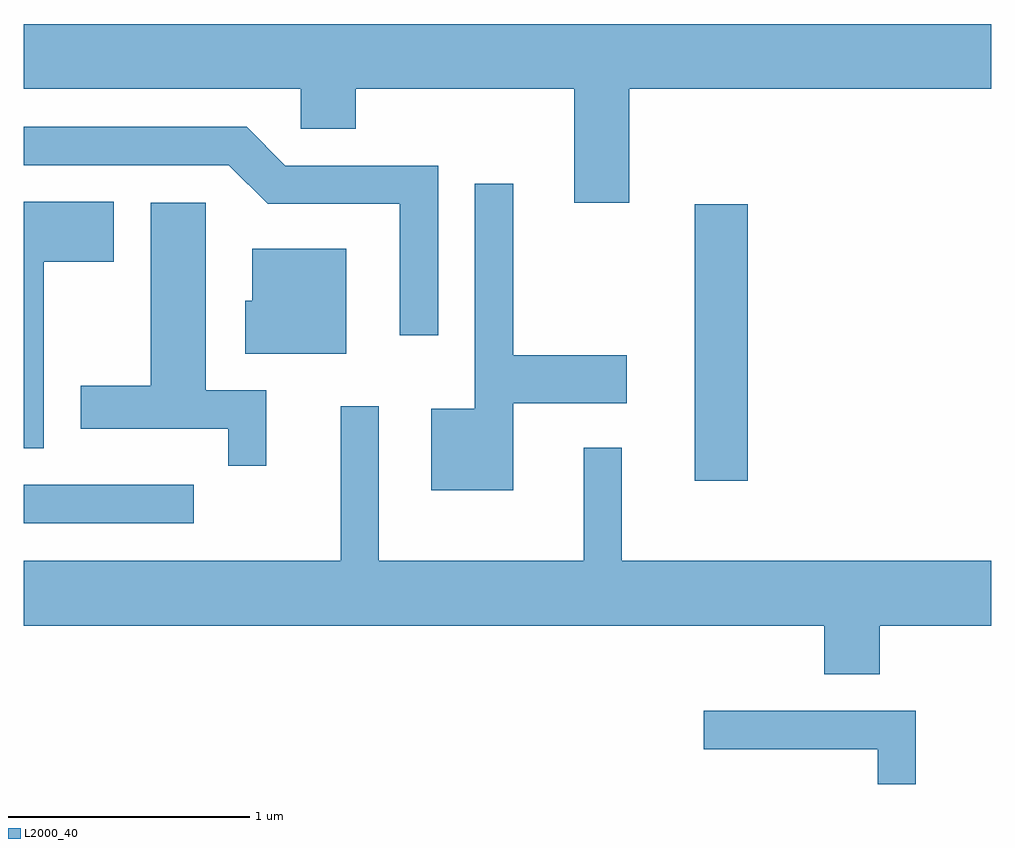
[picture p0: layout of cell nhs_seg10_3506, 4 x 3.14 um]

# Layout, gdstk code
import gdstk
lib = gdstk.Library(unit=1e-6, precision=1e-09)
def R(c, l, rs):  # rectangles x0, y0, x1, y1
    for r in rs: c.add(gdstk.rectangle(r[:2], r[2:], *l))
def P(c, l, *ps):  # polygons
    for p in ps: c.add(gdstk.Polygon(p, *l))
L2000_40 = (2000, 40)

nhs_seg10_3506 = lib.new_cell('nhs_seg10_3506')
R(nhs_seg10_3506, L2000_40, [(287.611,2187.601,288.313,2187.759), (290.386,2187.776,290.604,2188.919)])
P(nhs_seg10_3506, L2000_40, [(290.114,2189.396),(291.611,2189.396),(291.611,2189.664),(287.611,2189.664),(287.611,2189.396),(288.756,2189.396),(288.756,2189.231),(288.984,2189.231),(288.984,2189.396),(289.886,2189.396),(289.886,2188.926),(290.114,2188.926)],
  [(289.324,2189.079),(288.692,2189.079),(288.532,2189.239),(287.611,2189.239),(287.611,2189.081),(288.459,2189.081),(288.619,2188.921),(289.166,2188.921),(289.166,2188.378),(289.324,2188.378)],
  [(289.634,2188.096),(290.104,2188.096),(290.104,2188.294),(289.634,2188.294),(289.634,2189.003),(289.476,2189.003),(289.476,2188.074),(289.296,2188.074),(289.296,2187.736),(289.634,2187.736)],
  [(287.694,2188.681),(287.984,2188.681),(287.984,2188.929),(287.611,2188.929),(287.611,2187.911),(287.694,2187.911)],
  [(288.614,2188.149),(288.364,2188.149),(288.364,2188.924),(288.136,2188.924),(288.136,2188.169),(287.846,2188.169),(287.846,2187.991),(288.456,2187.991),(288.456,2187.838),(288.614,2187.838)],
  [(288.944,2188.734),(288.556,2188.734),(288.556,2188.519),(288.526,2188.519),(288.526,2188.301),(288.944,2188.301)],
  [(291.149,2187.176),(291.611,2187.176),(291.611,2187.444),(290.084,2187.444),(290.084,2187.913),(289.926,2187.913),(289.926,2187.444),(289.079,2187.444),(289.079,2188.083),(288.921,2188.083),(288.921,2187.444),(287.611,2187.444),(287.611,2187.176),(290.921,2187.176),(290.921,2186.976),(291.149,2186.976)],
  [(291.299,2186.824),(290.423,2186.824),(290.423,2186.666),(291.141,2186.666),(291.141,2186.522),(291.299,2186.522)])

lib.write_gds('nhs_seg10_3506.gds')
